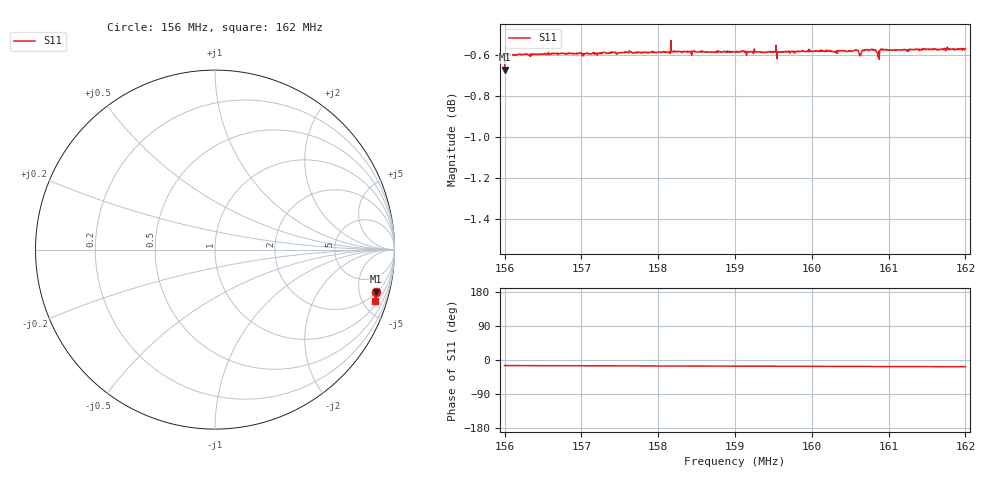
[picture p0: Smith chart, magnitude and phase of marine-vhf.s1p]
! Calibrated averaged scanner-service zoom
# Hz S RI R 50
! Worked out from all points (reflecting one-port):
!   1001 points, 156 MHz to 162 MHz, reference 50 ohm
!   lowest |S11| = -0.7 dB at 156 MHz (marker M1), VSWR 25.83, Z = 109 - j356 ohm
!   phase of S11 starts at -15 deg and turns -3 deg over the sweep
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1.56e8  0.8954 -0.2338
1.56036e8  0.9025 -0.2376
1.56042e8  0.9022 -0.2378
1.5675e8  0.9017 -0.2435
1.57044e8  0.9009 -0.2456
1.575e8  0.9005 -0.2496
1.5813e8  0.8992 -0.2546
1.58136e8  0.8993 -0.2546
1.58196e8  0.8994 -0.2552
1.58202e8  0.8997 -0.2553
1.5825e8  0.8993 -0.2558
1.59e8  0.8973 -0.2616
1.59378e8  0.8962 -0.2643
1.5951e8  0.8965 -0.2653
1.5957e8  0.8961 -0.2658
1.5975e8  0.8961 -0.267
1.605e8  0.8944 -0.2729
1.60572e8  0.8948 -0.2734
1.60626e8  0.8927 -0.2706
1.60686e8  0.8942 -0.2745
1.608e8  0.8942 -0.2756
1.60848e8  0.8924 -0.2773
1.60866e8  0.8903 -0.2759
1.60926e8  0.8942 -0.2769
1.6125e8  0.8924 -0.2789
1.61706e8  0.892 -0.2832
1.61772e8  0.8922 -0.2838
1.62e8  0.8918 -0.2855
